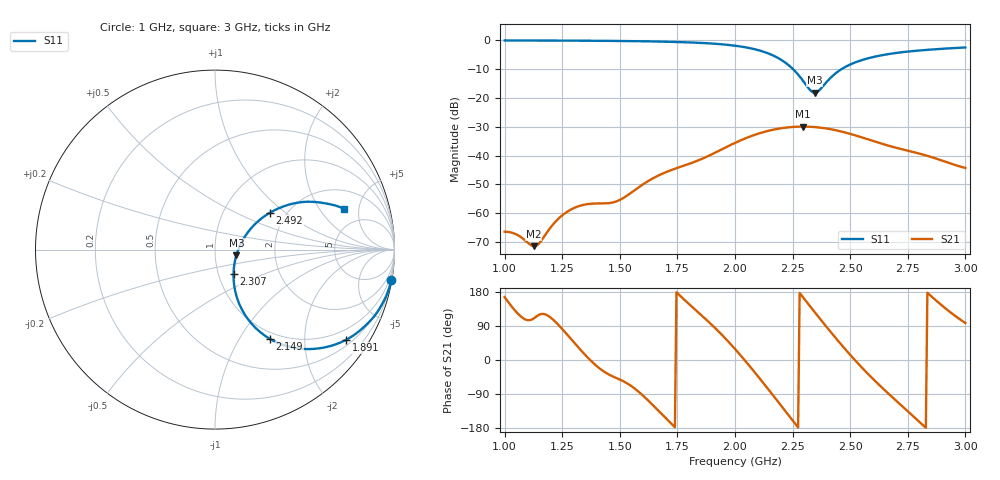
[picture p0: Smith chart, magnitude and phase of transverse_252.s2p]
! TOUCHSTONE file generated by CST MICROWAVE STUDIO
! Date and time: Tue Mar 11 13:58:03 2025
! Project name: transverse.cst
! Parameters = {Fracture=5; B=10; D=160; F=25; Feed=2.85625; L=100; M=30; R=0.384908; S=2; Theta=270; length=57.125; wave=114.25}
! Header version: 2024
! Port assignment regex: !\s*Touchstone port\s*([0-9]+)\s*=\s*(CST MWS port|CST DES external port|CST DES block port)\s*(.+)\s* \(\"(.*)\"\)(\s*mode\s*([0-9]+))?.*
! Touchstone port assignment:
! Touchstone port 1 = CST MWS port 1 ("")
! Touchstone port 2 = CST MWS port 2 ("")
# GHz S MA R 50
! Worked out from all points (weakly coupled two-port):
!   304 points, 1 GHz to 3 GHz, reference 50 ohm
!   highest |S21| = -29.93 dB at 2.294 GHz (marker M1); lowest = -71.5 dB at 1.125 GHz (marker M2)
!   lowest |S11| = -18.2 dB at 2.347 GHz (marker M3), VSWR 1.28, Z = 63.3 - j4.16 ohm
!   |S11| at or under -10 dB: 2.252 GHz to 2.462 GHz (209.8 MHz wide, 8.9 % of centre)
!   S12 and S22 are empty: the file has one direction only
!   S11 on the Smith chart (normalised r, x): 1 GHz: 0, -12; 1.891 GHz: 0.66, -3.09; 2.149 GHz: 0.90, -1.37; 2.307 GHz: 1.18, -0.33; 2.492 GHz: 1.65, +0.78; 3 GHz: 3.28, +3.46
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1  0.9975 -9.8  0.0004763 166.0  0 0.0  0 0.0
1.05281  0.9971 -10.5  0.0004251 125.4  0 0.0  0 0.0
1.12541  0.9961 -11.5  0.0002675 109.4  0 0.0  0 0.0
1.15182  0.9954 -12.0  0.0003057 120.0  0 0.0  0 0.0
1.20462  0.9936 -12.8  0.0005997 109.6  0 0.0  0 0.0
1.24422  0.9922 -13.5  0.0008774 85.7  0 0.0  0 0.0
1.33663  0.9887 -15.2  0.001377 22.0  0 0.0  0 0.0
1.48845  0.978 -18.6  0.001621 -48.5  0 0.0  0 0.0
1.66667  0.9556 -23.9  0.004492 -133.2  0 0.0  0 0.0
1.89109  0.8867 -34.5  0.01015 97.5  0 0.0  0 0.0
2.0033  0.805 -43.0  0.01684 26.9  0 0.0  0 0.0
2.14851  0.5852 -58.3  0.02716 -80.3  0 0.0  0 0.0
2.22772  0.3852 -65.6  0.03084 -141.9  0 0.0  0 0.0
2.29373  0.2029 -59.1  0.03188 166.6  0 0.0  0 0.0
2.30693  0.1718 -53.1  0.03184 156.3  0 0.0  0 0.0
2.33993  0.1246 -23.2  0.0314 130.9  0 0.0  0 0.0
2.34653  0.1233 -15.2  0.03125 125.8  0 0.0  0 0.0
2.36634  0.1367 6.3  0.0307 110.7  0 0.0  0 0.0
2.43234  0.2595 32.3  0.02784 61.5  0 0.0  0 0.0
2.49175  0.3682 33.9  0.02436 19.3  0 0.0  0 0.0
2.66997  0.582 27.3  0.01471 -91.0  0 0.0  0 0.0
3  0.7532 17.6  0.006109 97.5  0 0.0  0 0.0
